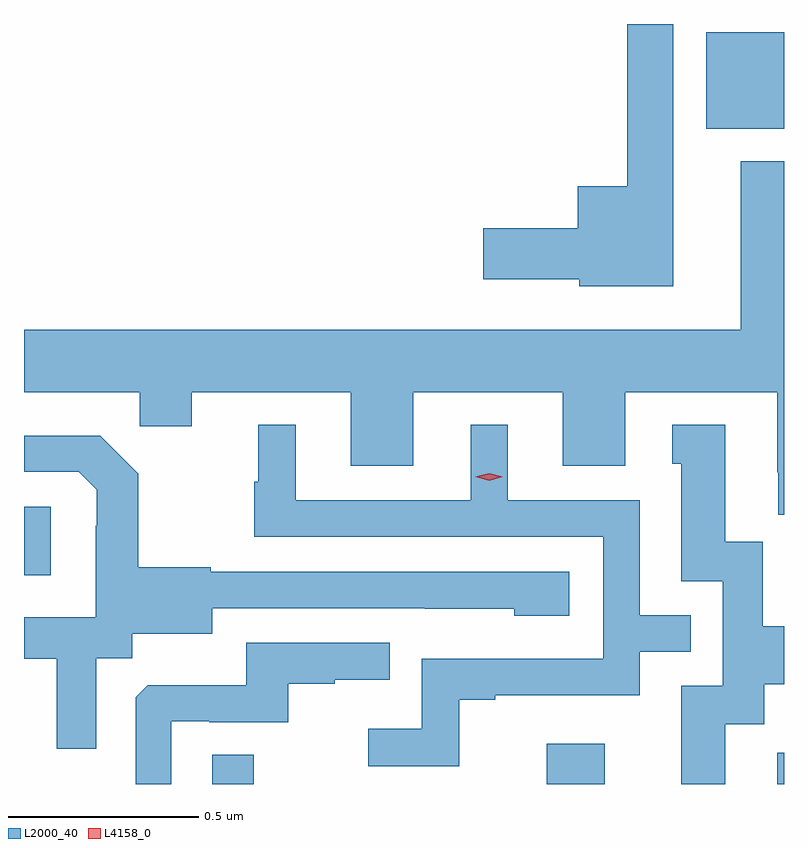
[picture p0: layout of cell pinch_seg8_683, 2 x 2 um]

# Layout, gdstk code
import gdstk
lib = gdstk.Library(unit=1e-6, precision=1e-09)
def R(c, l, rs):  # rectangles x0, y0, x1, y1
    for r in rs: c.add(gdstk.rectangle(r[:2], r[2:], *l))
def P(c, l, *ps):  # polygons
    for p in ps: c.add(gdstk.Polygon(p, *l))
L2000_40 = (2000, 40)
L4158_0 = (4158, 0)

pinch_seg8_683 = lib.new_cell('pinch_seg8_683')
R(pinch_seg8_683, L2000_40, [(268.74,1083.501,268.849,1083.578), (269.621,1083.501,269.773,1083.607), (270.227,1083.501,270.245,1083.583), (268.245,1084.05,268.315,1084.23), (270.041,1085.225,270.245,1085.479)])
P(pinch_seg8_683, L2000_40, [(269.953,1085.501),(269.832,1085.501),(269.832,1085.074),(269.702,1085.074),(269.702,1084.964),(269.454,1084.964),(269.454,1084.829),(269.706,1084.829),(269.706,1084.811),(269.953,1084.811)],
  [(270.227,1084.321),(270.23,1084.321),(270.23,1084.209),(270.245,1084.209),(270.245,1085.14),(270.131,1085.14),(270.131,1084.696),(268.245,1084.696),(268.245,1084.532),(268.549,1084.532),(268.549,1084.442),(268.687,1084.442),(268.687,1084.532),(269.105,1084.532),(269.105,1084.338),(269.269,1084.338),(269.269,1084.532),(269.663,1084.532),(269.663,1084.338),(269.827,1084.338),(269.827,1084.532),(270.227,1084.532)],
  [(270.091,1083.658),(270.193,1083.658),(270.193,1083.764),(270.245,1083.764),(270.245,1083.916),(270.189,1083.916),(270.189,1084.139),(270.091,1084.139),(270.091,1084.447),(269.951,1084.447),(269.951,1084.344),(269.975,1084.344),(269.975,1084.035),(270.084,1084.035),(270.084,1083.759),(269.975,1083.759),(269.975,1083.501),(270.091,1083.501)],
  [(269.391,1083.723),(269.485,1083.723),(269.485,1083.735),(269.865,1083.735),(269.865,1083.849),(269.999,1083.849),(269.999,1083.945),(269.865,1083.945),(269.865,1084.248),(269.518,1084.248),(269.518,1084.447),(269.42,1084.447),(269.42,1084.248),(268.96,1084.248),(268.96,1084.447),(268.862,1084.447),(268.862,1084.296),(268.851,1084.296),(268.851,1084.152),(269.769,1084.152),(269.769,1083.831),(269.292,1083.831),(269.292,1083.646),(269.151,1083.646),(269.151,1083.548),(269.391,1083.548)],
  [(268.435,1083.832),(268.53,1083.832),(268.53,1083.896),(268.741,1083.896),(268.741,1083.963),(269.299,1083.963),(269.299,1083.962),(269.535,1083.962),(269.535,1083.944),(269.68,1083.944),(269.68,1084.059),(268.737,1084.059),(268.737,1084.072),(268.545,1084.072),(268.545,1084.317),(268.445,1084.417),(268.245,1084.417),(268.245,1084.323),(268.389,1084.323),(268.436,1084.276),(268.436,1084.181),(268.434,1084.181),(268.434,1083.94),(268.245,1083.94),(268.245,1083.83),(268.331,1083.83),(268.331,1083.594),(268.435,1083.594)],
  [(268.632,1083.666),(268.732,1083.666),(268.732,1083.663),(268.94,1083.663),(268.94,1083.765),(269.063,1083.765),(269.063,1083.776),(269.207,1083.776),(269.207,1083.873),(268.83,1083.873),(268.83,1083.761),(268.571,1083.761),(268.539,1083.729),(268.539,1083.501),(268.632,1083.501)])
P(pinch_seg8_683, L4158_0, [(269.469,1084.299),(269.433,1084.309),(269.433,1084.309),(269.433,1084.309),(269.469,1084.319),(269.505,1084.309),(269.505,1084.309),(269.505,1084.309)])

lib.write_gds('pinch_seg8_683.gds')
